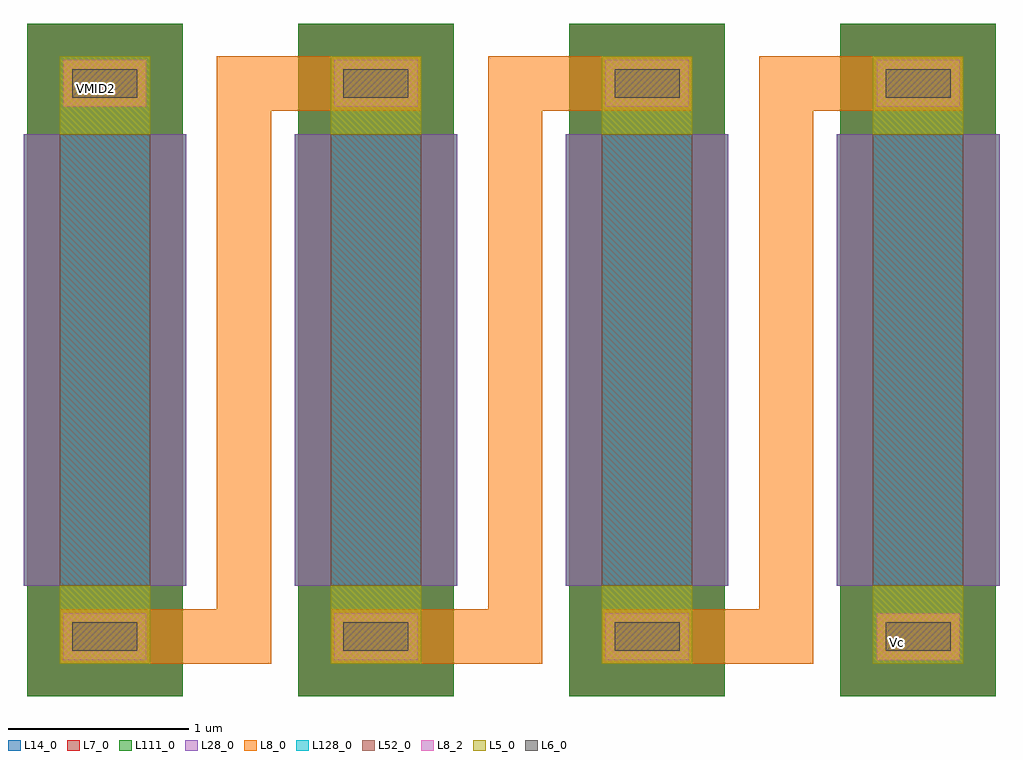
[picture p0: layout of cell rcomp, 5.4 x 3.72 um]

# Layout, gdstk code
import gdstk
lib = gdstk.Library(unit=1e-6, precision=1e-09)
def R(c, l, rs):  # rectangles x0, y0, x1, y1
    for r in rs: c.add(gdstk.rectangle(r[:2], r[2:], *l))
L5_0 = (5, 0)
L6_0 = (6, 0)
L7_0 = (7, 0)
L8_0 = (8, 0)
L8_2 = (8, 2)
L14_0 = (14, 0)
L28_0 = (28, 0)
L52_0 = (52, 0)
L111_0 = (111, 0)
L128_0 = (128, 0)

rhigh = lib.new_cell('rhigh')
R(rhigh, L5_0, [(0,-0.43,0.5,0), (0,2.5,0.5,2.93)])
R(rhigh, L6_0, [(0.07,-0.36,0.43,-0.2), (0.07,2.7,0.43,2.86)])
R(rhigh, L7_0, [(-0.18,-0.61,0.68,0.18), (-0.18,0,0.68,2.5), (-0.18,0,0.68,2.5), (-0.18,2.32,0.68,3.11)])
R(rhigh, L8_0, [(0.02,-0.41,0.48,-0.15), (0.02,2.65,0.48,2.91)])
R(rhigh, L8_2, [(0.02,-0.41,0.48,-0.15), (0.02,-0.41,0.48,-0.15), (0.02,2.65,0.48,2.91), (0.02,2.65,0.48,2.91)])
R(rhigh, L14_0, [(-0.18,-0.61,0.68,0.18), (-0.18,0,0.68,2.5), (-0.18,0,0.68,2.5), (-0.18,2.32,0.68,3.11)])
R(rhigh, L28_0, [(-0.2,0,0.7,2.5)])
R(rhigh, L52_0, [(0,0,0.5,2.5)])
R(rhigh, L111_0, [(-0.18,-0.61,0.68,0.18), (-0.2,0,0.7,2.5), (-0.18,2.32,0.68,3.11)])
R(rhigh, L128_0, [(0,0,0.5,2.5)])
rhigh.add(gdstk.Label('rpnd r=7711.304', (0.25,1.25), layer=63, texttype=0))
rhigh.add(gdstk.Label('rhigh', (0.25,1.25), layer=52, texttype=0))

rcomp = lib.new_cell('rcomp')
rcomp.add(gdstk.FlexPath([(-1.715,-2.76),(-0.695,-2.76),(-0.695,0.3),(0.285,0.3)], 0.3, ends="flush", simple_path=True, layer=8, datatype=0))  # L8_0
rcomp.add(gdstk.FlexPath([(-0.215,-2.76),(0.805,-2.76),(0.805,0.3),(1.785,0.3)], 0.3, ends="flush", simple_path=True, layer=8, datatype=0))  # L8_0
rcomp.add(gdstk.FlexPath([(1.285,-2.76),(2.305,-2.76),(2.305,0.3),(3.285,0.3)], 0.3, ends="flush", simple_path=True, layer=8, datatype=0))  # L8_0
r = gdstk.Reference(rhigh, (-1.715,-2.48)); r.repetition = gdstk.Repetition(4, 1, v1=(1.5,0), v2=(0,0)); rcomp.add(r)
rcomp.add(gdstk.Label('VMID2', (-1.51,0.274), layer=8, texttype=1))
rcomp.add(gdstk.Label('Vc', (2.923,-2.791), layer=8, texttype=1))

lib.write_gds('rcomp.gds')
